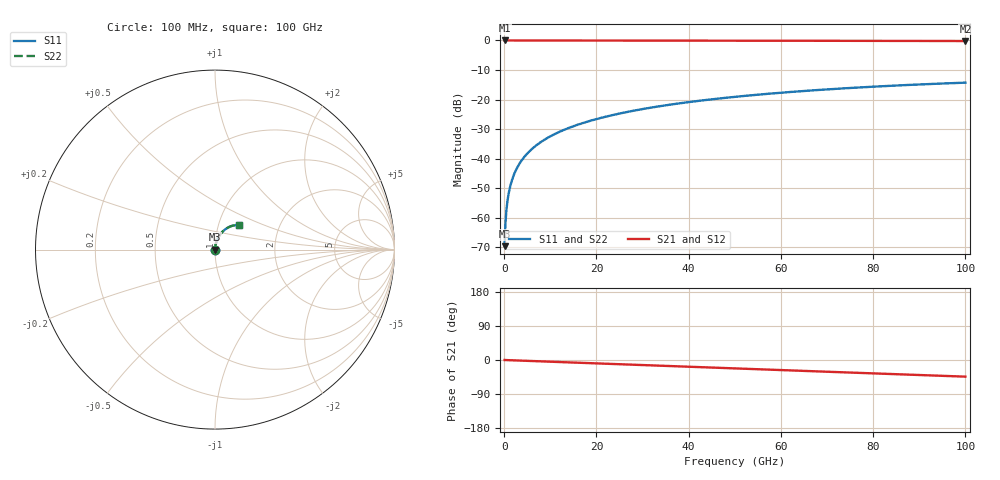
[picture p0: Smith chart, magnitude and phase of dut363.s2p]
! Touchstone file exported from HFSS 2026.1.0
!  File:  C:/ffzhzh/LocalFiles/Ansys_Project_Files/temp_train_TSV_363_1783510223_9504.aedt
!  Generated:  07:31:37 PM Jul  8, 2026
!  Design:  TSV
!  Project:  temp_train_TSV_363_1783510223_9504
! Variables:
!  h_bsmrdl = 2um
!  h_ox = 20um
!  h_rdl = 5um
!  h_sub = 83.5um
!  h_tmrdl = 5um
!  h_tsv = 83.5um
!  h_via = 3um
!  l_bsmrdl = 300um
!  l_sub = 416.42um
!  l_tmrdl = 200um
!  m_sub = 200um
!  pitch = 49.34um
!  r_tsv = 8.21um
!  s_tmrdl = 10um
!  w_bsmrdl = 18um
!  w_sub = 500um
!  w_tmrdl = 12um
!  x_tsv_center1 = 206um
!  x_tsv_center2 = 524um
!  x_tsv_center3 = 736um
!  x_tsv_center4 = 1054um
!  x_tsv_center5 = 1266um
!  x_tsv_center6 = 1584um
# GHz S MA R 50.000000
! Terminal data exported
! Port[1] = TSV1_1_T1
! Port[2] = TSV1_1_T2
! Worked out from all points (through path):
!   1000 points, 100 MHz to 100 GHz, reference 50 ohm
!   highest |S21| = 0.00 dB at 100 MHz (marker M1); lowest = -0.2 dB at 100 GHz (marker M2)
!   group delay of S21, straight-line fit = 1.22 ps
!   lowest |S11| = -69.7 dB at 100 MHz (marker M3), VSWR 1.00, Z = 50 + j0.0278 ohm
!   |S11| at or under -10 dB: start of sweep to end of sweep
!   |S22| runs from -69.7 to -14.3 dB; largest |S21 - S12| = 5.4e-15
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0.1  0.0003288 57.5  0.9998 -0.0  0.9998 -0.0  0.0003288 57.5
! Gamma 0 0 0 0
! Port Impedance 50 0 50 0
0.3  0.0008456 75.8  0.9998 -0.1  0.9998 -0.1  0.0008456 75.8
0.7  0.001868 81.0  0.9997 -0.3  0.9997 -0.3  0.001868 81.0
0.8  0.002117 81.5  0.9997 -0.4  0.9997 -0.4  0.002117 81.5
1  0.002612 82.3  0.9997 -0.5  0.9997 -0.5  0.002612 82.3
1.3  0.003348 83.0  0.9996 -0.6  0.9996 -0.6  0.003348 83.0
1.7  0.004322 83.6  0.9996 -0.8  0.9996 -0.8  0.004322 83.6
2.3  0.005767 84.0  0.9995 -1.1  0.9995 -1.1  0.005767 84.0
3  0.007433 84.2  0.9994 -1.4  0.9994 -1.4  0.007433 84.2
3.8  0.009322 84.3  0.9993 -1.7  0.9993 -1.7  0.009322 84.3
4.8  0.01167 84.2  0.9992 -2.2  0.9992 -2.2  0.01167 84.2
6  0.01448 84.1  0.9991 -2.7  0.9991 -2.7  0.01448 84.1
8.8  0.021 83.4  0.9988 -4.0  0.9988 -4.0  0.021 83.4
12.4  0.02931 82.1  0.9984 -5.6  0.9984 -5.6  0.02931 82.1
16.8  0.03937 80.4  0.9978 -7.5  0.9978 -7.5  0.03937 80.4
24.2  0.05605 77.5  0.9968 -10.8  0.9968 -10.8  0.05605 77.5
33.4  0.07629 73.7  0.9951 -14.9  0.9951 -14.9  0.07629 73.7
41.2  0.0929 70.4  0.9935 -18.3  0.9935 -18.3  0.0929 70.4
50.1  0.1111 66.6  0.9915 -22.3  0.9915 -22.3  0.1111 66.6
66.7  0.1425 59.5  0.9871 -29.5  0.9871 -29.5  0.1425 59.5
83.4  0.1702 52.3  0.9824 -36.8  0.9824 -36.8  0.1702 52.3
100  0.1929 45.3  0.9779 -43.9  0.9779 -43.9  0.1929 45.3
